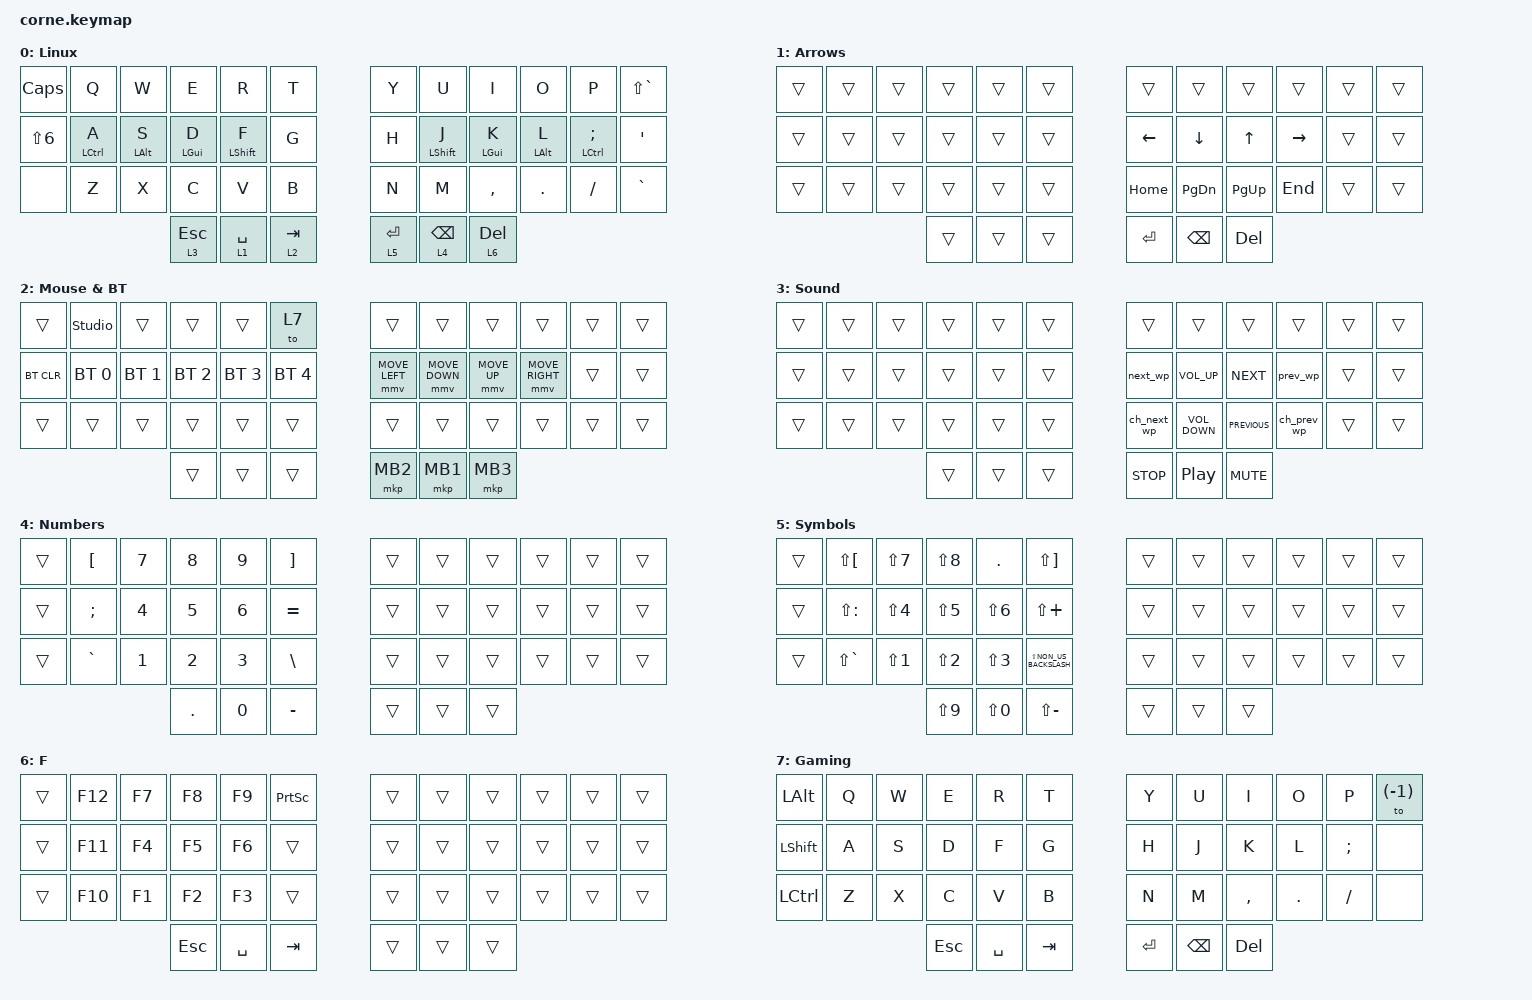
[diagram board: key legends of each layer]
/*
 * Copyright (c) 2020 The ZMK Contributors
 *
 * SPDX-License-Identifier: MIT
 */

#include <behaviors.dtsi>
#include <dt-bindings/zmk/bt.h>
#include <dt-bindings/zmk/keys.h>
#include <dt-bindings/zmk/pointing.h>

#define ZMK_POINTING_DEFAULT_MOVE_VAL 1500
#define ZMK_POINTING_DEFAULT_SCRL_VAL 20

&lt { quick-tap-ms = <200>; };

/ {
    macros {
        next_wp: next_wp {
            compatible = "zmk,behavior-macro";
            #binding-cells = <0>;
            bindings = <&kt LEFT_GUI &kp LEFT &kt LEFT_GUI>;
            label = "NEXT_WP";
        };

        prev_wp: prev_wp {
            compatible = "zmk,behavior-macro";
            #binding-cells = <0>;
            bindings = <&kt LEFT_GUI &kp RIGHT &kt LEFT_GUI>;
            label = "PREV_WP";
        };

        ch_next_wp: ch_next_wp {
            compatible = "zmk,behavior-macro";
            #binding-cells = <0>;
            bindings = <&kt LEFT_GUI &kp LEFT_SHIFT &kp LEFT &kt LEFT_GUI>;
            label = "CH_NEXT_WP";
        };

        ch_prev_wp: ch_prev_wp {
            compatible = "zmk,behavior-macro";
            #binding-cells = <0>;
            bindings = <&kt LEFT_GUI &kp LEFT_SHIFT &kp RIGHT &kt LEFT_GUI>;
            label = "CH_PREV_WP";
        };
    };

    behaviors {
        rpi: require_prior_idle {
            compatible = "zmk,behavior-hold-tap";
            #binding-cells = <2>;
            flavor = "tap-preferred";
            tapping-term-ms = <200>;
            quick-tap-ms = <200>;
            require-prior-idle-ms = <125>;
            bindings = <&kp>, <&kp>;
        };

        mpi: mac_require_prior_idle {
            compatible = "zmk,behavior-hold-tap";
            #binding-cells = <2>;
            flavor = "tap-preferred";
            tapping-term-ms = <200>;
            quick-tap-ms = <200>;
            require-prior-idle-ms = <125>;
            bindings = <&kp>, <&trans>;
        };
    };

    keymap {
        compatible = "zmk,keymap";

        linux {
            display-name = "Linux";
            bindings = <
&kp CAPS          &kp Q            &kp W            &kp E         &kp R              &kp T        &kp Y         &kp U              &kp I                &kp O            &kp P               &kp LS(GRAVE)
&kp LS(NUMBER_6)  &rpi LEFT_CONTROL A  &rpi LEFT_ALT S  &rpi LEFT_GUI D  &rpi LEFT_SHIFT F  &kp G        &kp H         &rpi LEFT_SHIFT J  &rpi LEFT_GUI K  &rpi LEFT_ALT L  &rpi LEFT_CONTROL SEMI  &kp SQT
&none             &kp Z            &kp X            &kp C         &kp V              &kp B        &kp N         &kp M              &kp COMMA            &kp DOT          &kp FSLH            &kp GRAVE
                                                    &lt 3 ESC     &lt 1 SPACE        &lt 2 TAB    &lt 5 RETURN  &lt 4 BACKSPACE    &lt 6 DELETE
            >;
        };

        arrows {
            display-name = "Arrows";
            bindings = <
&trans  &trans  &trans  &trans  &trans  &trans    &trans    &trans         &trans       &trans     &trans  &trans
&trans  &trans  &trans  &trans  &trans  &trans    &kp LEFT  &kp DOWN       &kp UP       &kp RIGHT  &trans  &trans
&trans  &trans  &trans  &trans  &trans  &trans    &kp HOME  &kp PAGE_DOWN  &kp PAGE_UP  &kp END    &trans  &trans
                        &trans  &trans  &trans    &kp RET   &kp BSPC       &kp DEL
            >;
        };

        mouse {
            display-name = "Mouse & BT";
            bindings = <
&trans      &studio_unlock &trans        &trans        &trans        &to 7           &trans           &trans           &trans        &trans           &trans  &trans
&bt BT_CLR  &bt BT_SEL 0   &bt BT_SEL 1  &bt BT_SEL 2  &bt BT_SEL 3  &bt BT_SEL 4    &mmv  MOVE_LEFT  &mmv  MOVE_DOWN  &mmv MOVE_UP  &mmv MOVE_RIGHT  &trans  &trans
&trans      &trans         &trans        &trans        &trans        &trans          &trans           &trans           &trans        &trans           &trans  &trans
                                         &trans        &trans        &trans          &mkp MB2         &mkp MB1         &mkp MB3
            >;
        };

        sound {
            display-name = "Sound";
            bindings = <
&trans  &trans  &trans  &trans  &trans  &trans    &trans       &trans             &trans          &trans       &trans  &trans
&trans  &trans  &trans  &trans  &trans  &trans    &next_wp     &kp C_VOLUME_UP    &kp C_NEXT      &prev_wp     &trans  &trans
&trans  &trans  &trans  &trans  &trans  &trans    &ch_next_wp  &kp C_VOLUME_DOWN  &kp C_PREVIOUS  &ch_prev_wp  &trans  &trans
                        &trans  &trans  &trans    &kp C_STOP   &kp C_PLAY_PAUSE   &kp C_MUTE
            >;
        };

        number {
            display-name = "Numbers";
            bindings = <
&trans  &kp LBKT   &kp N7  &kp N8   &kp N9  &kp RBKT     &trans  &trans  &trans  &trans  &trans  &trans
&trans  &kp SEMI   &kp N4  &kp N5   &kp N6  &kp EQUAL    &trans  &trans  &trans  &trans  &trans  &trans
&trans  &kp GRAVE  &kp N1  &kp N2   &kp N3  &kp BSLH     &trans  &trans  &trans  &trans  &trans  &trans
                           &kp DOT  &kp N0  &kp MINUS    &trans  &trans  &trans
            >;
        };

        symbol {
            display-name = "Symbols";
            bindings = <
&trans  &kp LS(LEFT_BRACKET)  &kp LS(N7)        &kp LS(N8)        &kp PERIOD        &kp LS(RBKT)                &trans  &trans  &trans  &trans  &trans  &trans
&trans  &kp LS(COLON)         &kp LS(NUMBER_4)  &kp LS(N5)        &kp LS(NUMBER_6)  &kp LS(PLUS)                &trans  &trans  &trans  &trans  &trans  &trans
&trans  &kp LS(GRAVE)         &kp LS(NUMBER_1)  &kp LS(NUMBER_2)  &kp LS(NUMBER_3)  &kp LS(NON_US_BACKSLASH)    &trans  &trans  &trans  &trans  &trans  &trans
                                                &kp LS(N9)        &kp LS(N0)        &kp LS(MINUS)               &trans  &trans  &trans
            >;
        };

        f {
            display-name = "F";
            bindings = <
&trans  &kp F12  &kp F7  &kp F8   &kp F9     &kp PRINTSCREEN    &trans  &trans  &trans  &trans  &trans  &trans
&trans  &kp F11  &kp F4  &kp F5   &kp F6     &trans             &trans  &trans  &trans  &trans  &trans  &trans
&trans  &kp F10  &kp F1  &kp F2   &kp F3     &trans             &trans  &trans  &trans  &trans  &trans  &trans
                         &kp ESC  &kp SPACE  &kp TAB            &trans  &trans  &trans
            >;
        };

        gaming {
            display-name = "Gaming";
            bindings = <
&kp LEFT_ALT    &kp Q  &kp W     &kp E      &kp R         &kp T       &kp Y          &kp U       &kp I      &kp O    &kp P      &to (-1)
&kp LEFT_SHIFT  &kp A  &kp S     &kp D      &kp F         &kp G       &kp H          &kp J       &kp K      &kp L    &kp  SEMI  &none
&kp LCTRL       &kp Z  &kp X     &kp C      &kp V         &kp B       &kp N          &kp M       &kp COMMA  &kp DOT  &kp FSLH   &none
                       &kp ESC   &kp SPACE  &kp TAB       &kp RETURN  &kp BACKSPACE  &kp DELETE  
            >;
        };
    };
};
